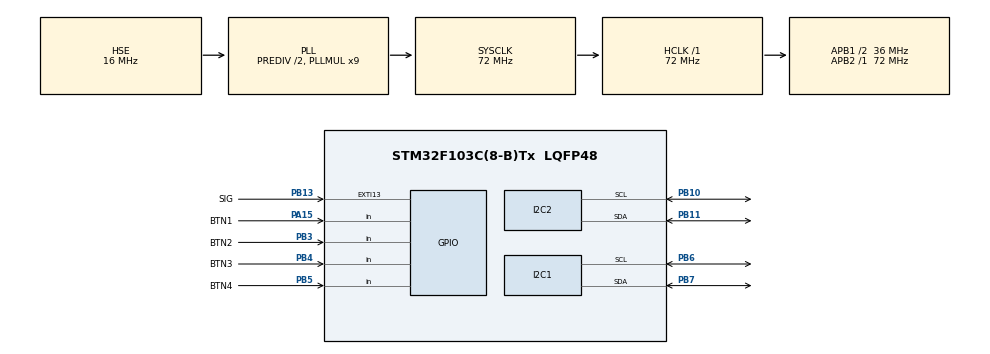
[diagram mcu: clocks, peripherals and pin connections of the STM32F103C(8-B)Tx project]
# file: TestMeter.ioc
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Mcu.Family=STM32F1
Mcu.Name=STM32F103C(8-B)Tx
Mcu.Package=LQFP48
NVIC.EXTI15_10_IRQn=true\:2\:0\:true\:false\:true\:true\:true\:true
NVIC.PriorityGroup=NVIC_PRIORITYGROUP_4
NVIC.TIM3_IRQn=true\:3\:0\:true\:false\:true\:true\:true\:true
NVIC.TIM4_IRQn=true\:1\:0\:true\:false\:true\:true\:true\:true
PA13.Mode=Serial_Wire
PA13.Signal=SYS_JTMS-SWDIO
PA14.Mode=Serial_Wire
PA14.Signal=SYS_JTCK-SWCLK
PA15.GPIO_Label=BTN1
PA15.GPIO_PuPd=GPIO_PULLUP
PA15.Signal=GPIO_Input
PB10.Mode=I2C
PB10.Signal=I2C2_SCL
PB11.Mode=I2C
PB11.Signal=I2C2_SDA
PB13.GPIO_Label=SIG
PB13.Signal=GPXTI13
PB3.GPIO_Label=BTN2
PB3.GPIO_PuPd=GPIO_PULLUP
PB3.Signal=GPIO_Input
PB4.GPIO_Label=BTN3
PB4.GPIO_PuPd=GPIO_PULLUP
PB4.Signal=GPIO_Input
PB5.GPIO_Label=BTN4
PB5.GPIO_PuPd=GPIO_PULLUP
PB5.Signal=GPIO_Input
PB6.Mode=I2C
PB6.Signal=I2C1_SCL
PB7.Mode=I2C
PB7.Signal=I2C1_SDA
PD0-OSC_IN.Mode=HSE-External-Oscillator
PD0-OSC_IN.Signal=RCC_OSC_IN
PD1-OSC_OUT.Mode=HSE-External-Oscillator
PD1-OSC_OUT.Signal=RCC_OSC_OUT
ProjectManager.HeapSize=0x200
ProjectManager.StackSize=0x400
ProjectManager.TargetToolchain=STM32CubeIDE
RCC.AHBFreq_Value=72000000
RCC.APB1CLKDivider=RCC_HCLK_DIV2
RCC.APB1Freq_Value=36000000
RCC.APB1TimFreq_Value=72000000
RCC.APB2Freq_Value=72000000
RCC.APB2TimFreq_Value=72000000
RCC.HCLKFreq_Value=72000000
RCC.HSEDivPLL=RCC_HSE_PREDIV_DIV2
RCC.HSE_VALUE=16000000
RCC.PLLMUL=RCC_PLL_MUL9
RCC.PLLSourceVirtual=RCC_PLLSOURCE_HSE
RCC.SYSCLKFreq_VALUE=72000000
RCC.SYSCLKSource=RCC_SYSCLKSOURCE_PLLCLK
RCC.USBFreq_Value=72000000
TIM3.Period=10-1
TIM3.Prescaler=36-1
TIM4.Period=1000-1
TIM4.Prescaler=1440-1
VP_TIM3_VS_ClockSourceINT.Mode=Internal
VP_TIM4_VS_ClockSourceINT.Mode=Internal
board=custom

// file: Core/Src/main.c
/* USER CODE BEGIN Header */
/**
 ******************************************************************************
 * @file           : main.c
 * @brief          : Main program body
 ******************************************************************************
 * @attention
 *
 * Copyright (c) 2024 STMicroelectronics.
 * All rights reserved.
 *
 * This software is licensed under terms that can be found in the LICENSE file
 * in the root directory of this software component.
 * If no LICENSE file comes with this software, it is provided AS-IS.
 *
 ******************************************************************************
 */
/* USER CODE END Header */
#include "main.h"

/* USER CODE BEGIN Includes */
#include "control.h"
/* USER CODE END Includes */

I2C_HandleTypeDef hi2c1;
I2C_HandleTypeDef hi2c2;

TIM_HandleTypeDef htim3;
TIM_HandleTypeDef htim4;

void SystemClock_Config(void);
static void MX_GPIO_Init(void);
static void MX_I2C2_Init(void);
static void MX_TIM3_Init(void);
static void MX_TIM4_Init(void);
static void MX_I2C1_Init(void);

int main(void)
{

  /* MCU Configuration--------------------------------------------------------*/

  /* Reset of all peripherals, Initializes the Flash interface and the Systick. */
  HAL_Init();

  /* Configure the system clock */
  SystemClock_Config();

  /* Initialize all configured peripherals */
  MX_GPIO_Init();
  MX_I2C2_Init();
  MX_TIM3_Init();
  MX_TIM4_Init();
  MX_I2C1_Init();
  /* USER CODE BEGIN 2 */
	HAL_Delay(1);
	Control_Init();
	HAL_Delay(1);
  /* USER CODE END 2 */

  /* Infinite loop */
  /* USER CODE BEGIN WHILE */

	while (1) {
		Control_Loop();
    /* USER CODE END WHILE */

	}
}

void SystemClock_Config(void)
{
  RCC_OscInitTypeDef RCC_OscInitStruct = {0};
  RCC_ClkInitTypeDef RCC_ClkInitStruct = {0};

  /** Initializes the RCC Oscillators according to the specified parameters
  * in the RCC_OscInitTypeDef structure.
  */
  RCC_OscInitStruct.OscillatorType = RCC_OSCILLATORTYPE_HSE;
  RCC_OscInitStruct.HSEState = RCC_HSE_ON;
  RCC_OscInitStruct.HSEPredivValue = RCC_HSE_PREDIV_DIV2;
  RCC_OscInitStruct.HSIState = RCC_HSI_ON;
  RCC_OscInitStruct.PLL.PLLState = RCC_PLL_ON;
  RCC_OscInitStruct.PLL.PLLSource = RCC_PLLSOURCE_HSE;
  RCC_OscInitStruct.PLL.PLLMUL = RCC_PLL_MUL9;
  if (HAL_RCC_OscConfig(&RCC_OscInitStruct) != HAL_OK)
  {
    Error_Handler();
  }

  /** Initializes the CPU, AHB and APB buses clocks
  */
  RCC_ClkInitStruct.ClockType = RCC_CLOCKTYPE_HCLK|RCC_CLOCKTYPE_SYSCLK
                              |RCC_CLOCKTYPE_PCLK1|RCC_CLOCKTYPE_PCLK2;
  RCC_ClkInitStruct.SYSCLKSource = RCC_SYSCLKSOURCE_PLLCLK;
  RCC_ClkInitStruct.AHBCLKDivider = RCC_SYSCLK_DIV1;
  RCC_ClkInitStruct.APB1CLKDivider = RCC_HCLK_DIV2;
  RCC_ClkInitStruct.APB2CLKDivider = RCC_HCLK_DIV1;

  if (HAL_RCC_ClockConfig(&RCC_ClkInitStruct, FLASH_LATENCY_2) != HAL_OK)
  {
    Error_Handler();
  }
}

static void MX_I2C1_Init(void)
{

  hi2c1.Instance = I2C1;
  hi2c1.Init.ClockSpeed = 100000;
  hi2c1.Init.DutyCycle = I2C_DUTYCYCLE_2;
  hi2c1.Init.OwnAddress1 = 0;
  hi2c1.Init.AddressingMode = I2C_ADDRESSINGMODE_7BIT;
  hi2c1.Init.DualAddressMode = I2C_DUALADDRESS_DISABLE;
  hi2c1.Init.OwnAddress2 = 0;
  hi2c1.Init.GeneralCallMode = I2C_GENERALCALL_DISABLE;
  hi2c1.Init.NoStretchMode = I2C_NOSTRETCH_DISABLE;
  if (HAL_I2C_Init(&hi2c1) != HAL_OK)
  {
    Error_Handler();
  }

}

static void MX_I2C2_Init(void)
{

  hi2c2.Instance = I2C2;
  hi2c2.Init.ClockSpeed = 100000;
  hi2c2.Init.DutyCycle = I2C_DUTYCYCLE_2;
  hi2c2.Init.OwnAddress1 = 0;
  hi2c2.Init.AddressingMode = I2C_ADDRESSINGMODE_7BIT;
  hi2c2.Init.DualAddressMode = I2C_DUALADDRESS_DISABLE;
  hi2c2.Init.OwnAddress2 = 0;
  hi2c2.Init.GeneralCallMode = I2C_GENERALCALL_DISABLE;
  hi2c2.Init.NoStretchMode = I2C_NOSTRETCH_DISABLE;
  if (HAL_I2C_Init(&hi2c2) != HAL_OK)
  {
    Error_Handler();
  }

}

static void MX_TIM3_Init(void)
{

  TIM_ClockConfigTypeDef sClockSourceConfig = {0};
  TIM_MasterConfigTypeDef sMasterConfig = {0};

  htim3.Instance = TIM3;
  htim3.Init.Prescaler = 36-1;
  htim3.Init.CounterMode = TIM_COUNTERMODE_UP;
  htim3.Init.Period = 10-1;
  htim3.Init.ClockDivision = TIM_CLOCKDIVISION_DIV1;
  htim3.Init.AutoReloadPreload = TIM_AUTORELOAD_PRELOAD_DISABLE;
  if (HAL_TIM_Base_Init(&htim3) != HAL_OK)
  {
    Error_Handler();
  }
  sClockSourceConfig.ClockSource = TIM_CLOCKSOURCE_INTERNAL;
  if (HAL_TIM_ConfigClockSource(&htim3, &sClockSourceConfig) != HAL_OK)
  {
    Error_Handler();
  }
  sMasterConfig.MasterOutputTrigger = TIM_TRGO_RESET;
  sMasterConfig.MasterSlaveMode = TIM_MASTERSLAVEMODE_DISABLE;
  if (HAL_TIMEx_MasterConfigSynchronization(&htim3, &sMasterConfig) != HAL_OK)
  {
    Error_Handler();
  }
  /* USER CODE BEGIN TIM3_Init 2 */
	if (HAL_TIM_Base_Start_IT(&htim3) != HAL_OK) {
		Error_Handler();
	}
  /* USER CODE END TIM3_Init 2 */

}

static void MX_TIM4_Init(void)
{

  TIM_ClockConfigTypeDef sClockSourceConfig = {0};
  TIM_MasterConfigTypeDef sMasterConfig = {0};

  htim4.Instance = TIM4;
  htim4.Init.Prescaler = 1440-1;
  htim4.Init.CounterMode = TIM_COUNTERMODE_UP;
  htim4.Init.Period = 1000-1;
  htim4.Init.ClockDivision = TIM_CLOCKDIVISION_DIV1;
  htim4.Init.AutoReloadPreload = TIM_AUTORELOAD_PRELOAD_DISABLE;
  if (HAL_TIM_Base_Init(&htim4) != HAL_OK)
  {
    Error_Handler();
  }
  sClockSourceConfig.ClockSource = TIM_CLOCKSOURCE_INTERNAL;
  if (HAL_TIM_ConfigClockSource(&htim4, &sClockSourceConfig) != HAL_OK)
  {
    Error_Handler();
  }
  sMasterConfig.MasterOutputTrigger = TIM_TRGO_RESET;
  sMasterConfig.MasterSlaveMode = TIM_MASTERSLAVEMODE_DISABLE;
  if (HAL_TIMEx_MasterConfigSynchronization(&htim4, &sMasterConfig) != HAL_OK)
  {
    Error_Handler();
  }
  /* USER CODE BEGIN TIM4_Init 2 */
  if (HAL_TIM_Base_Start_IT(&htim4) != HAL_OK) {
  		Error_Handler();
  	}
  /* USER CODE END TIM4_Init 2 */

}

static void MX_GPIO_Init(void)
{
  GPIO_InitTypeDef GPIO_InitStruct = {0};

  /* GPIO Ports Clock Enable */
  __HAL_RCC_GPIOD_CLK_ENABLE();
  __HAL_RCC_GPIOB_CLK_ENABLE();
  __HAL_RCC_GPIOA_CLK_ENABLE();

  /*Configure GPIO pin : SIG_Pin */
  GPIO_InitStruct.Pin = SIG_Pin;
  GPIO_InitStruct.Mode = GPIO_MODE_IT_RISING;
  GPIO_InitStruct.Pull = GPIO_NOPULL;
  HAL_GPIO_Init(SIG_GPIO_Port, &GPIO_InitStruct);

  /*Configure GPIO pin : BTN1_Pin */
  GPIO_InitStruct.Pin = BTN1_Pin;
  GPIO_InitStruct.Mode = GPIO_MODE_INPUT;
  GPIO_InitStruct.Pull = GPIO_PULLUP;
  HAL_GPIO_Init(BTN1_GPIO_Port, &GPIO_InitStruct);

  /*Configure GPIO pins : BTN2_Pin BTN3_Pin BTN4_Pin */
  GPIO_InitStruct.Pin = BTN2_Pin|BTN3_Pin|BTN4_Pin;
  GPIO_InitStruct.Mode = GPIO_MODE_INPUT;
  GPIO_InitStruct.Pull = GPIO_PULLUP;
  HAL_GPIO_Init(GPIOB, &GPIO_InitStruct);

  /* EXTI interrupt init*/
  HAL_NVIC_SetPriority(EXTI15_10_IRQn, 2, 0);
  HAL_NVIC_EnableIRQ(EXTI15_10_IRQn);

}

/* USER CODE BEGIN 4 */
void HAL_TIM_PeriodElapsedCallback(TIM_HandleTypeDef *htim) {
	if (htim == &htim3) {
		TAC_CounterHandler();
	}else if (htim == &htim4){
		TAC_UpdateHandler();
	}
}

void HAL_GPIO_EXTI_Callback(uint16_t GPIO_Pin) {
	TAC_IrqHandler();
}
/* USER CODE END 4 */

void Error_Handler(void)
{
	__disable_irq();
	while (1) {
	}
}
